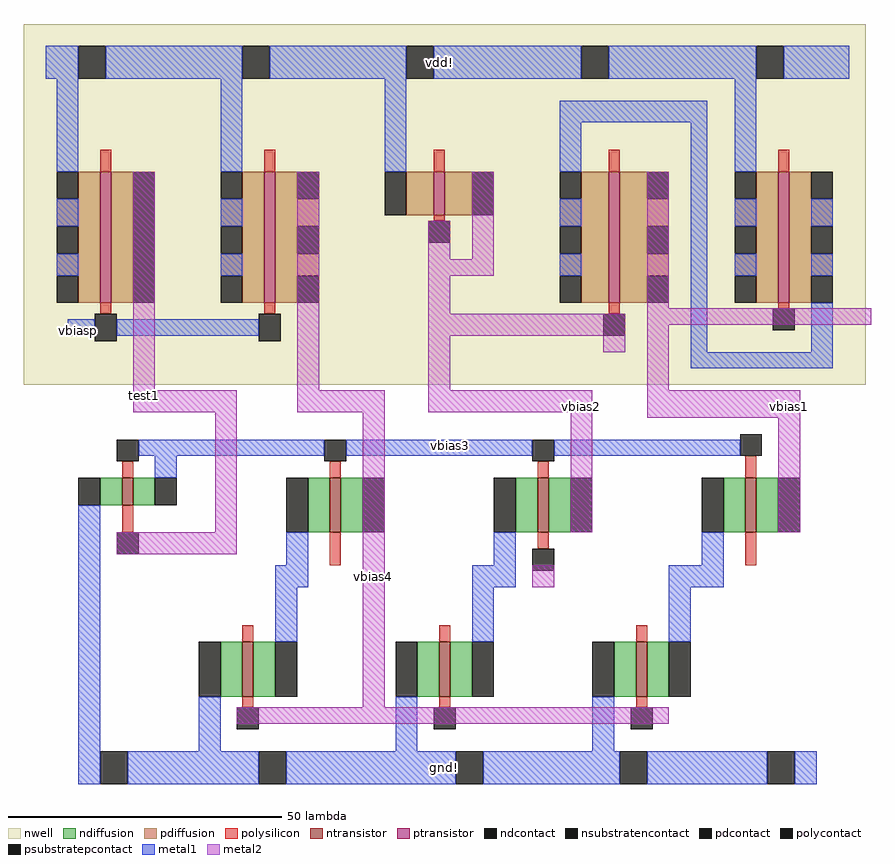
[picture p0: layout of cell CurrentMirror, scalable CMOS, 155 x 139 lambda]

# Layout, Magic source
magic
tech scmos
<< nwell >>
rect -34 0 120 66
<< ntransistor >>
rect -16 -22 -14 -17
rect 22 -27 24 -17
rect 60 -27 62 -17
rect 98 -27 100 -17
rect 6 -57 8 -47
rect 42 -57 44 -47
rect 78 -57 80 -47
<< ptransistor >>
rect -20 15 -18 39
rect 10 15 12 39
rect 41 31 43 39
rect 73 15 75 39
rect 104 15 106 39
<< ndiffusion >>
rect -20 -22 -16 -17
rect -14 -22 -10 -17
rect 18 -27 22 -17
rect 24 -27 28 -17
rect 56 -27 60 -17
rect 62 -27 66 -17
rect 94 -27 98 -17
rect 100 -27 104 -17
rect 2 -57 6 -47
rect 8 -57 12 -47
rect 38 -57 42 -47
rect 44 -57 48 -47
rect 74 -57 78 -47
rect 80 -57 84 -47
<< pdiffusion >>
rect -24 34 -20 39
rect -28 29 -20 34
rect -24 24 -20 29
rect -28 20 -20 24
rect -24 15 -20 20
rect -18 15 -14 39
rect 6 34 10 39
rect 2 29 10 34
rect 6 24 10 29
rect 2 20 10 24
rect 6 15 10 20
rect 12 34 16 39
rect 12 29 20 34
rect 36 31 41 39
rect 43 31 48 39
rect 68 34 73 39
rect 12 24 16 29
rect 64 29 73 34
rect 12 20 20 24
rect 12 15 16 20
rect 68 24 73 29
rect 64 20 73 24
rect 68 15 73 20
rect 75 34 80 39
rect 75 29 84 34
rect 75 24 80 29
rect 75 20 84 24
rect 75 15 80 20
rect 100 34 104 39
rect 96 29 104 34
rect 100 24 104 29
rect 96 20 104 24
rect 100 15 104 20
rect 106 34 110 39
rect 106 29 114 34
rect 106 24 110 29
rect 106 20 114 24
rect 106 15 110 20
<< ndcontact >>
rect -24 -22 -20 -17
rect -10 -22 -6 -17
rect 14 -27 18 -17
rect 28 -27 32 -17
rect 52 -27 56 -17
rect 66 -27 70 -17
rect 90 -27 94 -17
rect 104 -27 108 -17
rect -2 -57 2 -47
rect 12 -57 16 -47
rect 34 -57 38 -47
rect 48 -57 52 -47
rect 70 -57 74 -47
rect 84 -57 88 -47
<< pdcontact >>
rect -28 34 -24 39
rect -28 24 -24 29
rect -28 15 -24 20
rect -14 15 -10 39
rect 2 34 6 39
rect 2 24 6 29
rect 2 15 6 20
rect 16 34 20 39
rect 32 31 36 39
rect 48 31 52 39
rect 64 34 68 39
rect 16 24 20 29
rect 16 15 20 20
rect 64 24 68 29
rect 64 15 68 20
rect 80 34 84 39
rect 80 24 84 29
rect 80 15 84 20
rect 96 34 100 39
rect 96 24 100 29
rect 96 15 100 20
rect 110 34 114 39
rect 110 24 114 29
rect 110 15 114 20
<< psubstratepcontact >>
rect -20 -73 -15 -67
rect 9 -73 14 -67
rect 45 -73 50 -67
rect 75 -73 80 -67
rect 102 -73 107 -67
<< nsubstratencontact >>
rect -24 56 -19 62
rect 6 56 11 62
rect 36 56 41 62
rect 68 56 73 62
rect 100 56 105 62
<< polysilicon >>
rect -20 39 -18 43
rect 10 39 12 43
rect 41 39 43 43
rect 73 39 75 43
rect 104 39 106 43
rect 41 30 43 31
rect -20 13 -18 15
rect 10 13 12 15
rect 73 13 75 15
rect 104 14 106 15
rect -16 -17 -14 -14
rect 22 -17 24 -14
rect 60 -17 62 -14
rect 98 -17 100 -13
rect -16 -27 -14 -22
rect 22 -33 24 -27
rect 60 -30 62 -27
rect 98 -33 100 -27
rect 6 -47 8 -44
rect 42 -47 44 -44
rect 78 -47 80 -44
rect 6 -59 8 -57
rect 42 -59 44 -57
rect 78 -59 80 -57
<< polycontact >>
rect 40 26 44 30
rect -21 8 -17 13
rect 9 8 13 13
rect 72 9 76 13
rect 103 10 107 14
rect -17 -14 -13 -10
rect 21 -14 25 -10
rect 59 -14 63 -10
rect 97 -13 101 -9
rect -17 -31 -13 -27
rect 59 -34 63 -30
rect 5 -63 9 -59
rect 41 -63 45 -59
rect 77 -63 81 -59
<< metal1 >>
rect -30 56 -24 62
rect -19 56 6 62
rect 11 56 36 62
rect 41 56 68 62
rect 73 56 100 62
rect 105 56 117 62
rect -28 39 -24 56
rect 2 39 6 56
rect 32 39 36 56
rect 64 48 91 52
rect 64 39 68 48
rect -28 29 -24 34
rect -28 20 -24 24
rect 2 29 6 34
rect 64 29 68 34
rect 2 20 6 24
rect 64 20 68 24
rect -26 9 -21 12
rect -17 9 9 12
rect 88 6 91 48
rect 96 39 100 56
rect 96 29 100 34
rect 96 20 100 24
rect 110 29 114 34
rect 110 20 114 24
rect 110 6 114 15
rect 88 3 114 6
rect -13 -13 21 -10
rect -10 -17 -6 -13
rect 25 -13 59 -10
rect 63 -13 97 -10
rect -24 -73 -20 -22
rect 14 -33 18 -27
rect 52 -33 56 -27
rect 12 -37 18 -33
rect 48 -37 56 -33
rect 90 -33 94 -27
rect 84 -37 94 -33
rect 12 -47 16 -37
rect 48 -47 52 -37
rect 84 -47 88 -37
rect -2 -67 2 -57
rect 34 -67 38 -57
rect 70 -67 74 -57
rect -15 -73 9 -67
rect 14 -73 45 -67
rect 50 -73 75 -67
rect 80 -73 102 -67
rect 107 -73 111 -67
<< metal2 >>
rect -14 -1 -10 39
rect 16 -1 20 39
rect 40 23 44 30
rect 48 23 52 39
rect 40 20 52 23
rect 40 13 44 20
rect 80 14 84 39
rect 40 9 76 13
rect 40 -1 44 9
rect 72 6 76 9
rect 80 11 121 14
rect 80 -1 84 11
rect -14 -5 5 -1
rect 16 -5 32 -1
rect 40 -5 70 -1
rect 1 -27 5 -5
rect -17 -31 5 -27
rect 28 -59 32 -5
rect 66 -27 70 -5
rect 80 -6 108 -1
rect 104 -27 108 -6
rect 59 -37 63 -33
rect 5 -62 84 -59
<< labels >>
rlabel metal1 42 59 42 59 1 vdd!
rlabel metal1 43 -70 43 -70 1 gnd!
rlabel metal1 -24 10 -24 10 1 vbiasp
rlabel metal1 44 -11 44 -11 1 vbias3
rlabel metal2 106 -4 106 -4 1 vbias1
rlabel metal2 68 -4 68 -4 1 vbias2
rlabel metal2 30 -35 30 -35 1 vbias4
rlabel metal2 -12 -2 -12 -2 1 test1
<< end >>
